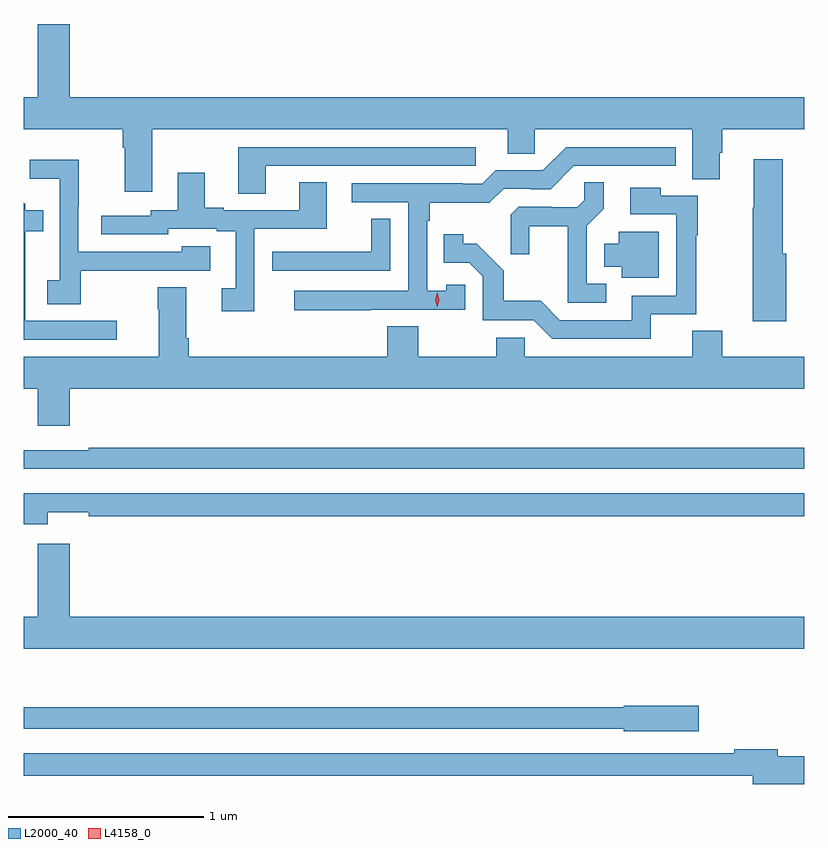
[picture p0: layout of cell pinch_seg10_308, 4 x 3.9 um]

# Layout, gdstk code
import gdstk
lib = gdstk.Library(unit=1e-6, precision=1e-09)
def P(c, l, *ps):  # polygons
    for p in ps: c.add(gdstk.Polygon(p, *l))
L2000_40 = (2000, 40)
L4158_0 = (4158, 0)

pinch_seg10_308 = lib.new_cell('pinch_seg10_308')
P(pinch_seg10_308, L2000_40, [(500.836,1266.223),(500.672,1266.223),(500.672,1265.848),(500.601,1265.848),(500.601,1265.684),(501.107,1265.684),(501.107,1265.588),(501.119,1265.588),(501.119,1265.364),(501.259,1265.364),(501.259,1265.684),(503.081,1265.684),(503.081,1265.557),(503.22,1265.557),(503.22,1265.684),(504.029,1265.684),(504.029,1265.428),(504.169,1265.428),(504.169,1265.562),(504.182,1265.562),(504.182,1265.684),(504.601,1265.684),(504.601,1265.848),(500.836,1265.848)],
  [(502.379,1264.758),(502.863,1264.758),(502.863,1264.887),(502.767,1264.887),(502.767,1264.855),(502.668,1264.855),(502.668,1265.213),(502.681,1265.213),(502.681,1265.306),(502.988,1265.306),(503.061,1265.379),(503.2,1265.379),(503.2,1265.376),(503.301,1265.376),(503.421,1265.496),(503.944,1265.496),(503.944,1265.592),(503.382,1265.592),(503.262,1265.472),(503.019,1265.472),(502.95,1265.403),(502.85,1265.403),(502.85,1265.406),(502.281,1265.406),(502.281,1265.31),(502.572,1265.31),(502.572,1264.854),(501.987,1264.854),(501.987,1264.756),(502.379,1264.756)],
  [(501.841,1265.496),(502.918,1265.496),(502.918,1265.592),(501.701,1265.592),(501.701,1265.353),(501.841,1265.353)],
  [(504.509,1265.046),(504.491,1265.046),(504.491,1265.53),(504.344,1265.53),(504.344,1265.282),(504.337,1265.282),(504.337,1265.046),(504.338,1265.046),(504.338,1264.698),(504.509,1264.698)],
  [(500.893,1264.957),(501.197,1264.957),(501.197,1264.959),(501.556,1264.959),(501.556,1265.083),(501.411,1265.083),(501.411,1265.055),(500.88,1265.055),(500.88,1265.288),(500.883,1265.288),(500.883,1265.527),(500.631,1265.527),(500.631,1265.429),(500.784,1265.429),(500.784,1264.908),(500.721,1264.908),(500.721,1264.786),(500.893,1264.786)],
  [(501.783,1265.172),(502.153,1265.172),(502.153,1265.411),(502.013,1265.411),(502.013,1265.268),(501.625,1265.268),(501.625,1265.281),(501.529,1265.281),(501.529,1265.461),(501.389,1265.461),(501.389,1265.268),(501.252,1265.268),(501.252,1265.241),(500.997,1265.241),(500.997,1265.145),(501.342,1265.145),(501.342,1265.172),(501.59,1265.172),(501.59,1265.16),(501.686,1265.16),(501.686,1264.869),(501.615,1264.869),(501.615,1264.749),(501.783,1264.749)],
  [(503.587,1264.89),(503.487,1264.89),(503.487,1265.189),(503.573,1265.275),(503.573,1265.411),(503.475,1265.411),(503.475,1265.32),(503.438,1265.283),(503.304,1265.283),(503.304,1265.286),(503.139,1265.286),(503.098,1265.245),(503.098,1265.043),(503.192,1265.043),(503.192,1265.186),(503.39,1265.186),(503.39,1264.794),(503.587,1264.794)],
  [(503.816,1264.734),(504.047,1264.734),(504.047,1265.14),(504.055,1265.14),(504.055,1265.343),(503.865,1265.343),(503.865,1265.383),(503.709,1265.383),(503.709,1265.247),(503.946,1265.247),(503.946,1264.83),(503.717,1264.83),(503.717,1264.704),(503.349,1264.704),(503.251,1264.803),(503.062,1264.803),(503.062,1264.958),(502.924,1265.096),(502.854,1265.096),(502.854,1265.146),(502.753,1265.146),(502.753,1264.998),(502.884,1264.998),(502.953,1264.929),(502.953,1264.704),(503.214,1264.704),(503.31,1264.608),(503.816,1264.608)],
  [(501.076,1264.701),(500.608,1264.701),(500.608,1265.16),(500.699,1265.16),(500.699,1265.269),(500.607,1265.269),(500.607,1265.301),(500.601,1265.307),(500.601,1264.605),(501.076,1264.605)],
  [(502.479,1265.225),(502.381,1265.225),(502.381,1265.055),(501.985,1265.055),(501.985,1265.054),(501.873,1265.054),(501.873,1264.959),(502.479,1264.959)],
  [(503.857,1265.158),(503.651,1265.158),(503.651,1265.095),(503.576,1265.095),(503.576,1264.979),(503.666,1264.979),(503.666,1264.922),(503.857,1264.922)],
  [(500.836,1264.352),(504.601,1264.352),(504.601,1264.516),(504.182,1264.516),(504.182,1264.649),(504.029,1264.649),(504.029,1264.516),(503.169,1264.516),(503.169,1264.614),(503.023,1264.614),(503.023,1264.516),(502.623,1264.516),(502.623,1264.673),(502.463,1264.673),(502.463,1264.516),(501.446,1264.516),(501.446,1264.612),(501.433,1264.612),(501.433,1264.873),(501.286,1264.873),(501.286,1264.76),(501.293,1264.76),(501.293,1264.516),(500.601,1264.516),(500.601,1264.352),(500.672,1264.352),(500.672,1264.164),(500.836,1264.164)],
  [(504.601,1264.051),(500.932,1264.051),(500.932,1264.038),(500.601,1264.038),(500.601,1263.942),(504.601,1263.942)],
  [(500.722,1263.719),(500.932,1263.719),(500.932,1263.7),(504.601,1263.7),(504.601,1263.816),(500.601,1263.816),(500.601,1263.658),(500.722,1263.658)],
  [(504.601,1263.184),(500.836,1263.184),(500.836,1263.559),(500.672,1263.559),(500.672,1263.184),(500.601,1263.184),(500.601,1263.02),(504.601,1263.02)],
  [(504.061,1262.727),(503.676,1262.727),(503.676,1262.719),(500.601,1262.719),(500.601,1262.61),(503.676,1262.61),(503.676,1262.597),(504.061,1262.597)],
  [(504.601,1262.468),(504.466,1262.468),(504.466,1262.504),(504.242,1262.504),(504.242,1262.484),(500.601,1262.484),(500.601,1262.368),(504.338,1262.368),(504.338,1262.326),(504.601,1262.326)])
P(pinch_seg10_308, L4158_0, [(502.721,1264.773),(502.721,1264.773),(502.711,1264.809),(502.721,1264.845),(502.721,1264.845),(502.721,1264.845),(502.731,1264.809),(502.721,1264.773)])

lib.write_gds('pinch_seg10_308.gds')
